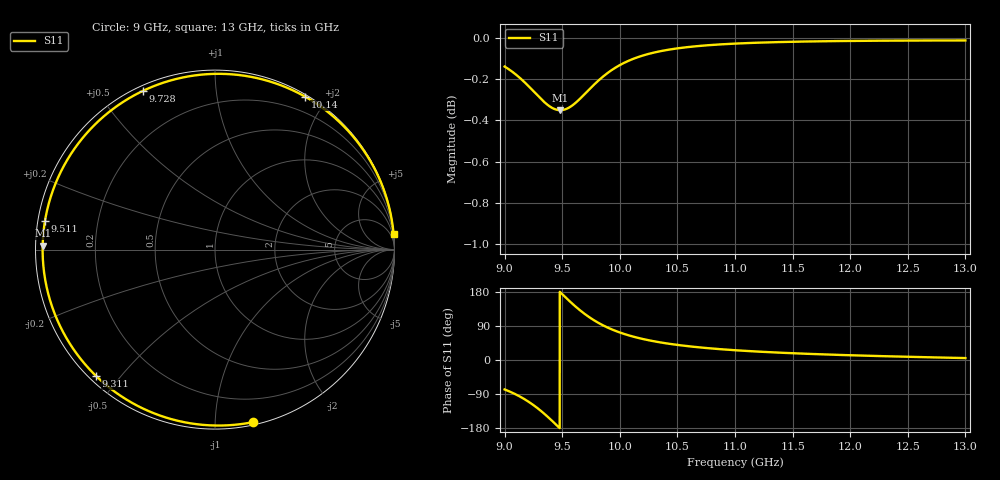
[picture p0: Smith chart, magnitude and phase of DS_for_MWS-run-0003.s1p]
! TOUCHSTONE file generated by CST DESIGN STUDIO
! Date and time: Tue Feb  4 13:37:42 2025
! Project name: C:\Work\MatlabApps\UnitCellOptimizationMatlab\CST\unitcell.cst
! Tree item: Tasks\Sweep1\SPara1\S-Parameters
! Header version: 2024
! Port assignment regex: !\s*Touchstone port\s*([0-9]+)\s*=\s*(CST MWS port|CST DES external port|CST DES block port)\s*(.+)\s* \(\"(.*)\"\)(\s*mode\s*([0-9]+))?.*
! Touchstone port assignment:
! Touchstone port 1 = CST DES external port 1 ("")
# GHz S MA R 50
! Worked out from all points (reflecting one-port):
!   4001 points, 9 GHz to 13 GHz, reference 50 ohm
!   lowest |S11| = -0.4 dB at 9.483 GHz (marker M1), VSWR 49.60, Z = 1.01 + j0.55 ohm
!   phase of S11 starts at -78 deg and turns -277 deg over the sweep
!   S11 on the Smith chart (normalised r, x): 9 GHz: 0.02, -1.24; 9.311 GHz: 0.02, -0.43; 9.511 GHz: 0.02, +0.08; 9.728 GHz: 0.02, +0.64; 10.14 GHz: 0.02, +1.75; 13 GHz: 0, +23
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9  0.9842 -77.7
9.079  0.9808 -88.1
9.177  0.9754 -104.2
9.246  0.971 -118.1
9.311  0.9668 -133.3
9.356  0.9642 -144.9
9.404  0.962 -158.2
9.444  0.9609 -169.8
9.483  0.9605 178.7
9.5  0.9605 173.7
9.511  0.9607 170.5
9.563  0.962 155.5
9.623  0.9648 139.2
9.675  0.9679 126.3
9.728  0.9713 114.4
9.782  0.9746 103.7
9.843  0.9781 93.2
9.92  0.9819 82.1
10  0.985 72.6
10.145  0.9891 59.4
10.306  0.9921 48.9
10.5  0.9943 39.8
10.722  0.9958 32.4
11  0.9969 25.8
11.5  0.998 17.9
12  0.9984 12.5
12.5  0.9986 8.5
13  0.9987 5.1
